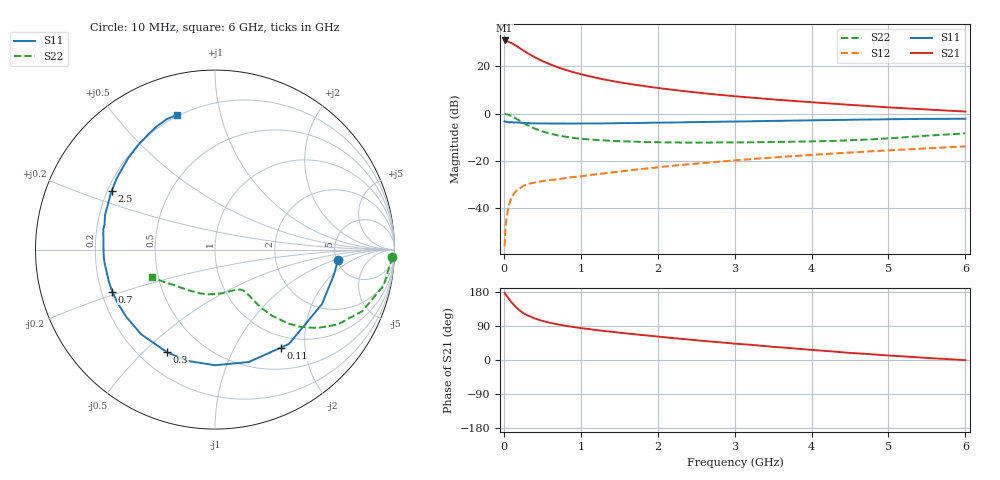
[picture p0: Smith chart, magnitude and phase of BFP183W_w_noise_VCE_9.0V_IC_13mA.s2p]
! Infineon Technologies  Discrete & RF Semiconductors
! BFP183W
! VCE =  9.0 V,  IC =  13 mA
! Common Emitter S-Parameters:  Jan 2017
# GHz  S  MA  R  50
!  f  S11  S21  S12  S22
! GHz  MAG  ANG  MAG  ANG  MAG  ANG  MAG  ANG
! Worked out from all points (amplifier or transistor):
!   77 points, 10 MHz to 6 GHz, reference 50 ohm
!   highest |S21| = 30.9 dB at 10 MHz (marker M1)
!   |S21| within 3 dB of that: start of sweep to 195.2 MHz
!   unconditionally stable (mu >= 1): 1.499 GHz to 3.806 GHz
!   at 130 MHz: K = 0.17, MSG = 31.5 dB, |S12| = -33.9 dB
!   at 2.2 GHz: K = 1.06, MAG = 14.5 dB, |S12| = -22.0 dB
!   at 6 GHz: K = 0.85, MSG = 7.3 dB, |S12| = -13.8 dB
!   lowest NFmin = 1.01 dB at 450 MHz
!   S11 on the Smith chart (normalised r, x): 10 MHz: 5.19, -1.09; 110 MHz: 0.81, -1.56; 300 MHz: 0.31, -0.59; 700 MHz: 0.24, -0.18; 2.5 GHz: 0.22, +0.25; 6 GHz: 0.19, +0.74
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0.01  0.6887 -4.6  34.9 177.3  0.0016 90.9  0.9893 -2.4
0.02  0.6768 -12.1  34.36 173.7  0.0037 92.3  0.9784 -4.9
0.05  0.6688 -27.0  33.34 165.4  0.0087 77.8  0.9607 -12.1
0.1  0.6679 -51.9  30.78 152.0  0.017 68.0  0.8891 -22.7
0.11  0.6579 -56.1  30.06 150.0  0.0181 65.8  0.8703 -24.3
0.15  0.6541 -73.3  27.6 140.9  0.0226 59.1  0.8023 -31.3
0.2  0.6443 -90.0  24.42 131.7  0.0261 53.9  0.7178 -37.5
0.25  0.6384 -103.9  21.62 124.2  0.0296 49.0  0.6426 -42.1
0.3  0.6313 -115.1  19.17 118.5  0.0323 44.9  0.5784 -45.3
0.4  0.6259 -131.1  15.53 109.6  0.0351 42.2  0.4851 -49.3
0.5  0.6203 -142.6  12.85 103.3  0.0376 40.9  0.422 -51.3
0.6  0.6192 -150.9  10.97 98.2  0.0399 41.4  0.3781 -52.3
0.7  0.6183 -157.8  9.509 94.1  0.0409 42.6  0.3464 -52.8
0.9  0.6161 -168.1  7.499 87.2  0.0459 43.9  0.3081 -53.7
1.1  0.6209 -175.8  6.203 81.7  0.0502 46.6  0.2866 -54.6
1.5  0.6284 172.2  4.587 72.2  0.0599 49.4  0.2617 -58.2
2.1  0.646 158.2  3.321 59.9  0.0765 52.6  0.2477 -67.7
2.5  0.6619 150.3  2.795 52.2  0.0881 53.0  0.2452 -76.3
3.1  0.6839 140.0  2.255 41.7  0.1062 52.5  0.2473 -90.1
4.1  0.7255 125.2  1.695 25.2  0.1378 49.5  0.2617 -114.7
5.1  0.7629 114.1  1.326 10.7  0.1712 44.7  0.3079 -140.8
6  0.7799 105.8  1.104 -0.5  0.2033 39.4  0.3826 -156.3
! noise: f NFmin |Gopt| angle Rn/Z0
0.45  1.01  0.12  144  0.1
0.9  1.04  0.19  155  0.09
1.9  1.52  0.38  -172  0.08
2.4  1.75  0.44  -164  0.1
